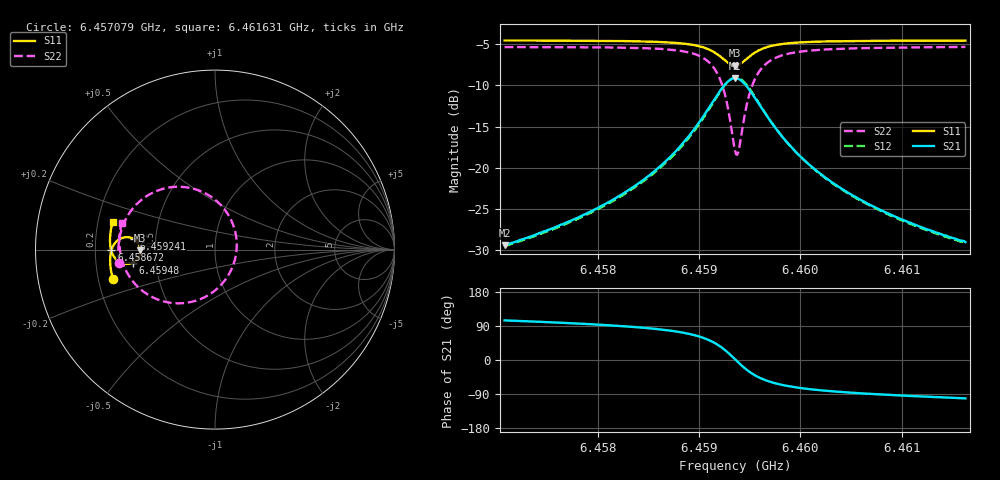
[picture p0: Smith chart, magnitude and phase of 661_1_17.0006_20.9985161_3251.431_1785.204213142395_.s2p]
#  HZ  S  RI  R  50.00
! Rohde & Schwarz Vector Network Analyzer
! Rohde-Schwarz,ZNB20-2Port,1311601062101988,3.16
! Created: UTC 3/20/2024, 11:21:45 PM
! freq[Hz]  re:S11  im:S11  re:S21  im:S21  re:S12  im:S12  re:S22  im:S22
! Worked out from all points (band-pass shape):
!   401 points, 6.457079 GHz to 6.461631 GHz, reference 50 ohm
!   highest |S21| = -9.12 dB at 6.459355 GHz (marker M1); lowest = -29.4 dB at 6.457079 GHz (marker M2)
!   |S21| within 3 dB of the highest: 6.459129 GHz to 6.459584 GHz (455.7 kHz wide, 0.00705 % of centre)
!   lowest |S11| = -7.6 dB at 6.459355 GHz (marker M3), VSWR 2.43, Z = 20.6 - j0.246 ohm
!   |S11| at or under -10 dB: nowhere
!   |S22| runs from -18.4 to -5.3 dB; largest |S21 - S12| = 0.014
!   S11 on the Smith chart (normalised r, x): 6.457079 GHz: 0.26, -0.13; 6.458672 GHz: 0.27, -0.00; 6.459241 GHz: 0.37, +0.06; 6.45948 GHz: 0.37, -0.07; 6.461631 GHz: 0.26, +0.12
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6.4570791e9  -0.5689 -0.1644  -0.00861 0.0329  -0.00676 0.0329  -0.5343 -0.0758
6.4578415e9  -0.5819 -0.0973  -0.00502 0.051  -0.00246 0.0505  -0.5382 0.0141
6.4582626e9  -0.5844 -0.055  0.00131 0.0706  0.0046 0.0693  -0.529 0.0816
6.458604e9  -0.5798 -0.0138  0.0156 0.0997  0.0195 0.0967  -0.5022 0.1593
6.4586723e9  -0.5775 -0.00431  0.0211 0.108  0.0252 0.1047  -0.4921 0.1794
6.4588657e9  -0.5644 0.026  0.0481 0.1389  0.0521 0.1338  -0.4412 0.2483
6.4590137e9  -0.5415 0.052  0.0939 0.1693  0.0971 0.1623  -0.3563 0.3123
6.4591502e9  -0.4973 0.0692  0.1817 0.1853  0.1826 0.1778  -0.1957 0.3499
6.4592413e9  -0.4526 0.0586  0.2721 0.1536  0.2721 0.1476  -0.0282 0.2986
6.4593095e9  -0.4232 0.0264  0.333 0.081  0.335 0.0758  0.0882 0.168
6.4593551e9  -0.4163 -0.00493  0.3495 0.0123  0.3532 0.0057  0.1211 0.0394
6.4593892e9  -0.4201 -0.0289  0.3437 -0.0407  0.3477 -0.0497  0.1095 -0.0614
6.4594347e9  -0.4358 -0.0554  0.3147 -0.1015  0.3172 -0.1134  0.0511 -0.1764
6.4594802e9  -0.4582 -0.0721  0.272 -0.143  0.2713 -0.1565  -0.0357 -0.2529
6.4595713e9  -0.5021 -0.079  0.1856 -0.1745  0.1795 -0.1862  -0.208 -0.2994
6.4596396e9  -0.5267 -0.0715  0.1363 -0.1722  0.1284 -0.1814  -0.3031 -0.2837
6.4597192e9  -0.5466 -0.0583  0.0963 -0.1599  0.0875 -0.1662  -0.3784 -0.248
6.4598785e9  -0.5683 -0.0305  0.0509 -0.1312  0.043 -0.1338  -0.4597 -0.1741
6.4601175e9  -0.5809 0.00525  0.0216 -0.0987  0.0157 -0.0994  -0.5077 -0.0902
6.4604475e9  -0.585 0.0449  0.006 -0.0721  0.00179 -0.0716  -0.5284 -0.0124
6.46088e9  -0.5829 0.0887  -0.00194 -0.0525  -0.00486 -0.0515  -0.5323 0.0582
6.461631e9  -0.5704 0.1554  -0.0069 -0.0349  -0.00863 -0.034  -0.5203 0.1479
